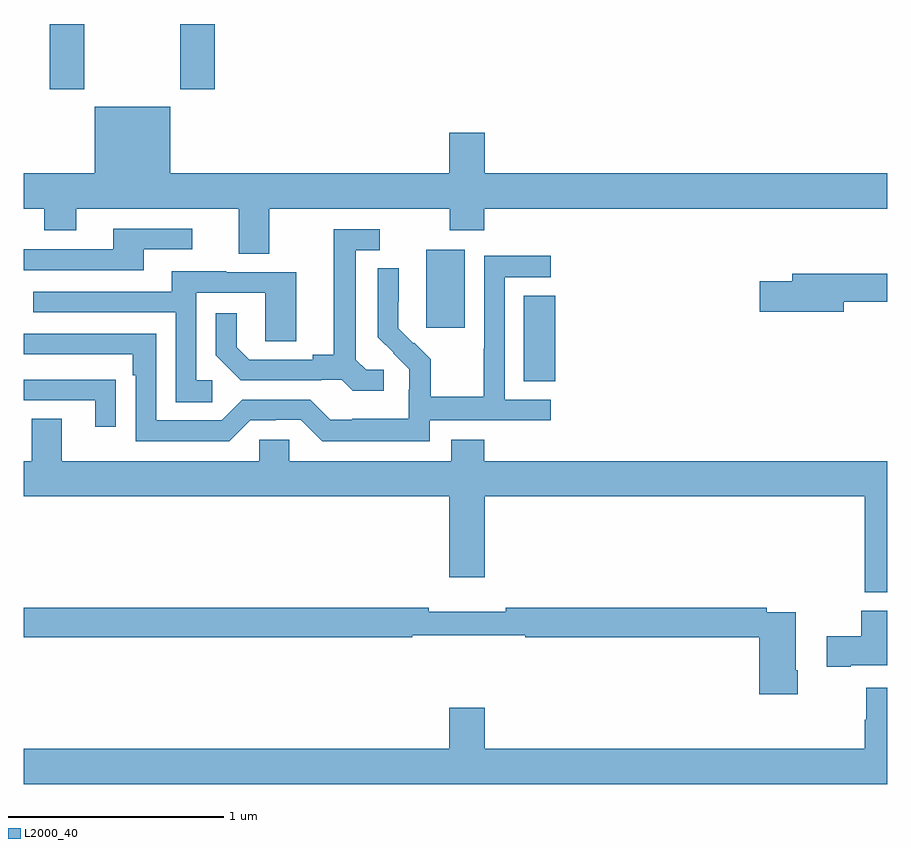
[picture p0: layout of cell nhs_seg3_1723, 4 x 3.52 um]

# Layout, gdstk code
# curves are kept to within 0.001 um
import gdstk
lib = gdstk.Library(unit=1e-6, precision=1e-09)
def R(c, l, rs):  # rectangles x0, y0, x1, y1
    for r in rs: c.add(gdstk.rectangle(r[:2], r[2:], *l))
def P(c, l, *ps):  # polygons
    for p in ps: c.add(gdstk.Polygon(p, *l))
L2000_40 = (2000, 40)

nhs_seg3_1723 = lib.new_cell('nhs_seg3_1723')
R(nhs_seg3_1723, L2000_40, [(201.317,738.745,201.461,739.142), (200.864,738.993,201.043,739.354), (199.121,740.097,199.281,740.4), (199.726,740.097,199.886,740.4)])
P(nhs_seg3_1723, L2000_40, [(200.137,739.544),(200.974,739.544),(200.974,739.445),(201.134,739.445),(201.134,739.544),(203,739.544),(203,739.708),(201.136,739.708),(201.136,739.897),(200.972,739.897),(200.972,739.708),(199.678,739.708),(199.678,740.017),(199.328,740.017),(199.328,739.708),(199,739.708),(199,739.544),(199.096,739.544),(199.096,739.445),(199.243,739.445),(199.243,739.544),(199.997,739.544),(199.997,739.336),(200.137,739.336)],
  [(199.555,739.356),(199.78,739.356),(199.78,739.452),(199.415,739.452),(199.415,739.356),(199,739.356),(199,739.26),(199.555,739.26)],
  [(200.668,738.798),(200.586,738.798),(200.539,738.845),(200.539,739.353),(200.65,739.353),(200.65,739.449),(200.435,739.449),(200.435,738.869),(200.339,738.869),(200.339,738.846),(200.044,738.846),(199.987,738.903),(199.987,739.06),(199.89,739.06),(199.89,738.866),(200.006,738.75),(200.378,738.75),(200.378,738.753),(200.472,738.753),(200.524,738.701),(200.668,738.701)],
  [(200.88,738.564),(201.442,738.564),(201.442,738.66),(201.228,738.66),(201.228,739.227),(201.442,739.227),(201.442,739.326),(201.132,739.326),(201.132,738.896),(201.13,738.896),(201.13,738.673),(200.885,738.673),(200.885,738.847),(200.808,738.924),(200.805,738.921),(200.735,738.992),(200.736,739.268),(200.64,739.268),(200.64,738.95),(200.786,738.802),(200.786,738.705),(200.784,738.705),(200.784,738.571),(200.521,738.571),(200.521,738.567),(200.421,738.567),(200.328,738.66),(200.013,738.66),(199.917,738.564),(199.614,738.564),(199.614,738.966),(199,738.966),(199,738.87),(199.505,738.87),(199.505,738.773),(199.518,738.773),(199.518,738.468),(199.953,738.468),(200.049,738.564),(200.168,738.564),(200.168,738.567),(200.283,738.567),(200.383,738.467),(200.88,738.467)],
  [(199.873,738.75),(199.8,738.75),(199.8,739.155),(200.118,739.155),(200.118,738.931),(200.263,738.931),(200.263,739.251),(199.939,739.251),(199.939,739.255),(199.685,739.255),(199.685,739.161),(199.045,739.161),(199.045,739.065),(199.704,739.065),(199.704,738.649),(199.873,738.649)],
  [(202.798,739.114),(203,739.114),(203,739.243),(202.559,739.243),(202.559,739.209),(202.41,739.209),(202.41,739.067),(202.798,739.067)],
  [(199.427,738.752),(199.325,738.752),(199.325,738.753),(199,738.753),(199,738.657),(199.331,738.657),(199.331,738.534),(199.427,738.534)],
  [(200.091,738.474),(200.091,738.376),(199.177,738.376),(199.177,738.571),(199.037,738.571),(199.037,738.376),(199,738.376),(199,738.212),(200.972,738.212),(200.972,737.838),(201.136,737.838),(201.136,738.212),(202.896,738.212),(202.896,737.768),(203,737.768),(203,738.376),(201.134,738.376),(201.134,738.475),(200.981,738.475),(200.981,738.376),(200.229,738.376),(200.229,738.474)],
  [(202.584,737.407),(202.576,737.407),(202.576,737.676),(202.442,737.676),(202.442,737.696),(201.232,737.696),(201.232,737.677),(200.876,737.677),(200.876,737.696),(199,737.696),(199,737.56),(200.8,737.56),(200.8,737.568),(201.322,737.568),(201.322,737.56),(202.406,737.56),(202.406,737.295),(202.584,737.295)],
  [(202.831,737.429),(203,737.429),(203,737.683),(202.88,737.683),(202.88,737.564),(202.719,737.564),(202.719,737.422),(202.831,737.422)],
  [(203,737.326),(202.903,737.326),(202.903,737.177),(202.896,737.177),(202.896,737.044),(201.136,737.044),(201.136,737.233),(200.972,737.233),(200.972,737.044),(199,737.044),(199,736.88),(203,736.88)])

lib.write_gds('nhs_seg3_1723.gds')
